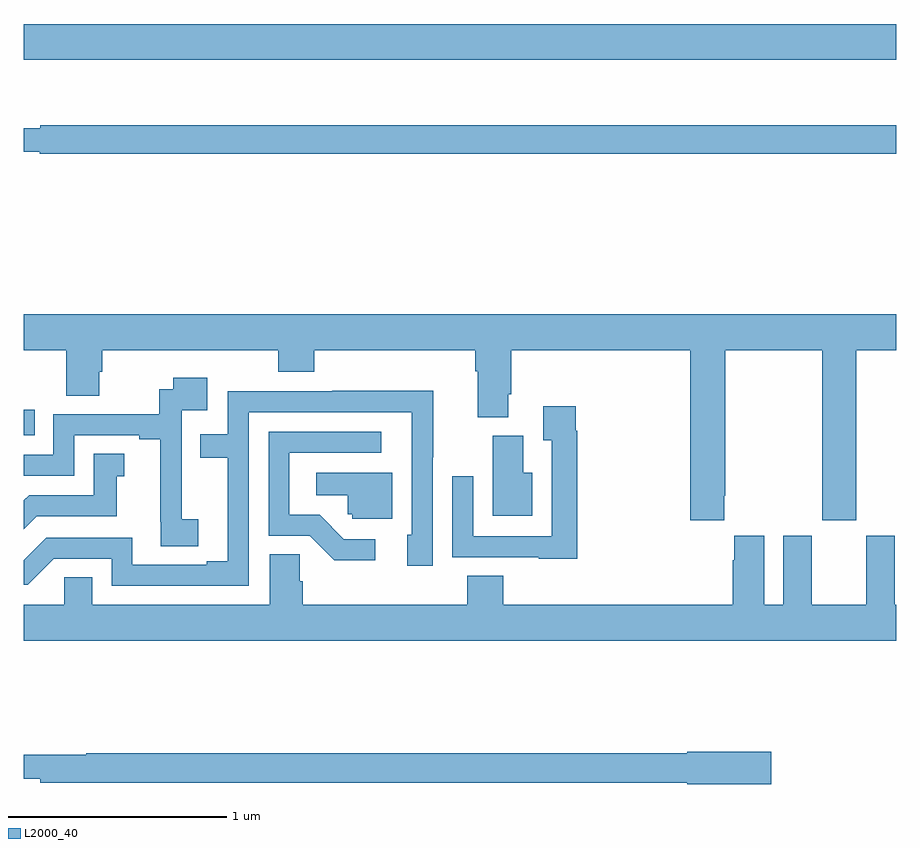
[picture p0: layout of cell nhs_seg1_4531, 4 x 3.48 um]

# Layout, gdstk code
import gdstk
lib = gdstk.Library(unit=1e-6, precision=1e-09)
def R(c, l, rs):  # rectangles x0, y0, x1, y1
    for r in rs: c.add(gdstk.rectangle(r[:2], r[2:], *l))
def P(c, l, *ps):  # polygons
    for p in ps: c.add(gdstk.Polygon(p, *l))
L2000_40 = (2000, 40)

nhs_seg1_4531 = lib.new_cell('nhs_seg1_4531')
R(nhs_seg1_4531, L2000_40, [(357,546.015,357.05,546.13), (357,547.736,361,547.9)])
P(nhs_seg1_4531, L2000_40, [(361,547.435),(357.076,547.435),(357.076,547.422),(357,547.422),(357,547.314),(357.074,547.314),(357.074,547.306),(361,547.306)],
  [(360.211,545.737),(360.216,545.737),(360.216,546.404),(360.661,546.404),(360.661,545.625),(360.816,545.625),(360.816,546.404),(361,546.404),(361,546.568),(357,546.568),(357,546.404),(357.194,546.404),(357.194,546.196),(357.346,546.196),(357.346,546.306),(357.359,546.306),(357.359,546.404),(358.166,546.404),(358.166,546.305),(358.331,546.305),(358.331,546.404),(359.069,546.404),(359.069,546.308),(359.081,546.308),(359.081,546.097),(359.221,546.097),(359.221,546.202),(359.234,546.202),(359.234,546.404),(360.056,546.404),(360.056,545.625),(360.211,545.625)],
  [(357.799,545.628),(357.725,545.628),(357.725,545.825),(357.723,545.825),(357.723,546.129),(357.841,546.129),(357.841,546.277),(357.685,546.277),(357.685,546.225),(357.622,546.225),(357.622,546.111),(357.135,546.111),(357.135,545.925),(357,545.925),(357,545.829),(357.231,545.829),(357.231,546.015),(357.53,546.015),(357.53,545.995),(357.626,545.995),(357.626,545.617),(357.628,545.617),(357.628,545.506),(357.799,545.506)],
  [(358.032,546.12),(358.779,546.12),(358.779,545.559),(358.757,545.559),(358.757,545.415),(358.875,545.415),(358.875,545.914),(358.877,545.914),(358.877,546.218),(358.414,546.218),(358.414,546.216),(357.936,546.216),(357.936,546.018),(357.808,546.018),(357.808,545.91),(357.935,545.91),(357.935,545.436),(357.839,545.436),(357.839,545.421),(357.498,545.421),(357.498,545.544),(357.102,545.544),(357,545.442),(357,545.328),(357.018,545.328),(357.138,545.448),(357.402,545.448),(357.402,545.325),(358.032,545.325)],
  [(359.537,546.035),(359.53,546.035),(359.53,546.148),(359.381,546.148),(359.381,545.992),(359.421,545.992),(359.421,545.55),(359.061,545.55),(359.061,545.827),(358.965,545.827),(358.965,545.454),(359.361,545.454),(359.361,545.447),(359.537,545.447)],
  [(358.612,545.538),(358.467,545.538),(358.356,545.649),(358.218,545.649),(358.218,545.934),(358.639,545.934),(358.639,546.03),(358.122,546.03),(358.122,545.553),(358.311,545.553),(358.424,545.441),(358.612,545.441)],
  [(359.332,545.842),(359.29,545.842),(359.29,546.012),(359.15,546.012),(359.15,545.645),(359.332,545.645)],
  [(357.06,545.643),(357.427,545.643),(357.427,545.827),(357.46,545.827),(357.46,545.93),(357.32,545.93),(357.32,545.739),(357.024,545.739),(357,545.715),(357,545.583)],
  [(358.69,545.842),(358.341,545.842),(358.341,545.738),(358.485,545.738),(358.485,545.652),(358.506,545.652),(358.506,545.631),(358.69,545.631)],
  [(361,545.236),(360.994,545.236),(360.994,545.554),(360.863,545.554),(360.863,545.236),(360.613,545.236),(360.613,545.554),(360.482,545.554),(360.482,545.236),(360.394,545.236),(360.394,545.554),(360.257,545.554),(360.257,545.441),(360.251,545.441),(360.251,545.236),(359.198,545.236),(359.198,545.369),(359.033,545.369),(359.033,545.236),(358.28,545.236),(358.28,545.345),(358.266,545.345),(358.266,545.468),(358.127,545.468),(358.127,545.236),(357.313,545.236),(357.313,545.363),(357.186,545.363),(357.186,545.236),(357,545.236),(357,545.072),(361,545.072)],
  [(360.427,544.562),(360.042,544.562),(360.042,544.556),(357.287,544.556),(357.287,544.549),(357,544.549),(357,544.439),(357.076,544.439),(357.076,544.42),(360.042,544.42),(360.042,544.415),(360.427,544.415)])

lib.write_gds('nhs_seg1_4531.gds')
